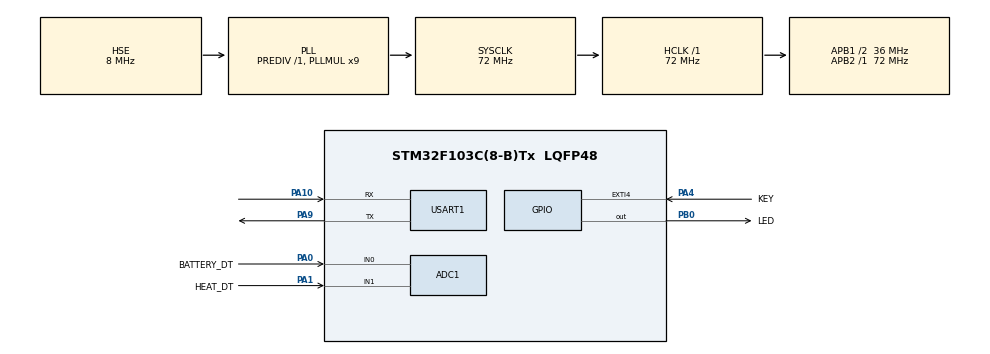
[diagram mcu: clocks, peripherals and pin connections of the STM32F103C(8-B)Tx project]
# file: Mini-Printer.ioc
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ADC1.Channel-2\#ChannelRegularConversion=ADC_CHANNEL_0
ADC1.Channel-3\#ChannelRegularConversion=ADC_CHANNEL_1
ADC1.ContinuousConvMode=ENABLE
ADC1.NbrOfConversion=2
ADC1.NbrOfConversionFlag=1
ADC1.Rank-2\#ChannelRegularConversion=1
ADC1.Rank-3\#ChannelRegularConversion=2
ADC1.SamplingTime-2\#ChannelRegularConversion=ADC_SAMPLETIME_239CYCLES_5
ADC1.SamplingTime-3\#ChannelRegularConversion=ADC_SAMPLETIME_239CYCLES_5
ADC1.master=1
Dma.ADC1.0.Direction=DMA_PERIPH_TO_MEMORY
Dma.ADC1.0.Instance=DMA1_Channel1
Dma.ADC1.0.MemDataAlignment=DMA_MDATAALIGN_WORD
Dma.ADC1.0.MemInc=DMA_MINC_ENABLE
Dma.ADC1.0.Mode=DMA_CIRCULAR
Dma.ADC1.0.PeriphDataAlignment=DMA_PDATAALIGN_WORD
Dma.ADC1.0.PeriphInc=DMA_PINC_DISABLE
Dma.ADC1.0.Priority=DMA_PRIORITY_LOW
Dma.Request0=ADC1
Mcu.Family=STM32F1
Mcu.Name=STM32F103C(8-B)Tx
Mcu.Package=LQFP48
NVIC.ADC1_2_IRQn=true\:10\:0\:true\:false\:true\:true\:true
NVIC.DMA1_Channel1_IRQn=true\:10\:0\:true\:false\:true\:false\:true
NVIC.EXTI4_IRQn=true\:4\:0\:true\:false\:true\:true\:true
NVIC.PriorityGroup=NVIC_PRIORITYGROUP_4
NVIC.TIM3_IRQn=true\:3\:0\:true\:false\:true\:true\:true
NVIC.TIM4_IRQn=true\:0\:0\:true\:false\:true\:false\:true
NVIC.TimeBase=TIM4_IRQn
NVIC.TimeBaseIP=TIM4
PA0-WKUP.GPIO_Label=BATTERY_DT
PA0-WKUP.Signal=ADCx_IN0
PA1.GPIO_Label=HEAT_DT
PA1.Signal=ADCx_IN1
PA10.Mode=Asynchronous
PA10.Signal=USART1_RX
PA13.Mode=Serial_Wire
PA13.Signal=SYS_JTMS-SWDIO
PA14.Mode=Serial_Wire
PA14.Signal=SYS_JTCK-SWCLK
PA4.GPIO_Label=KEY
PA4.GPIO_ModeDefaultEXTI=GPIO_MODE_IT_RISING_FALLING
PA4.GPIO_PuPd=GPIO_PULLUP
PA4.Signal=GPXTI4
PA9.Mode=Asynchronous
PA9.Signal=USART1_TX
PB0.GPIO_Label=LED
PB0.GPIO_PuPd=GPIO_PULLUP
PB0.PinState=GPIO_PIN_SET
PB0.Signal=GPIO_Output
PD0-OSC_IN.Mode=HSE-External-Oscillator
PD0-OSC_IN.Signal=RCC_OSC_IN
PD1-OSC_OUT.Mode=HSE-External-Oscillator
PD1-OSC_OUT.Signal=RCC_OSC_OUT
ProjectManager.HeapSize=0x200
ProjectManager.StackSize=0x400
ProjectManager.TargetToolchain=MDK-ARM V5.32
RCC.ADCPresc=RCC_ADCPCLK2_DIV6
RCC.AHBFreq_Value=72000000
RCC.APB1CLKDivider=RCC_HCLK_DIV2
RCC.APB1Freq_Value=36000000
RCC.APB1TimFreq_Value=72000000
RCC.APB2Freq_Value=72000000
RCC.APB2TimFreq_Value=72000000
RCC.HCLKFreq_Value=72000000
RCC.PLLMUL=RCC_PLL_MUL9
RCC.PLLSourceVirtual=RCC_PLLSOURCE_HSE
RCC.SYSCLKFreq_VALUE=72000000
RCC.SYSCLKSource=RCC_SYSCLKSOURCE_PLLCLK
RCC.USBFreq_Value=72000000
SH.ADCx_IN0.0=ADC1_IN0,IN0
SH.ADCx_IN1.0=ADC1_IN1,IN1
TIM3.AutoReloadPreload=TIM_AUTORELOAD_PRELOAD_ENABLE
TIM3.Period=100-1
TIM3.Prescaler=7200-1
USART1.VirtualMode=VM_ASYNC
VP_SYS_VS_tim4.Mode=TIM4
VP_TIM3_VS_ClockSourceINT.Mode=Internal
board=custom

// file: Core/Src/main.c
/* USER CODE BEGIN Header */
/**
 ******************************************************************************
 * @file           : main.c
 * @brief          : Main program body
 ******************************************************************************
 * @attention
 *
 * Copyright (c) 2025 STMicroelectronics.
 * All rights reserved.
 *
 * This software is licensed under terms that can be found in the LICENSE file
 * in the root directory of this software component.
 * If no LICENSE file comes with this software, it is provided AS-IS.
 *
 ******************************************************************************
 */
/* USER CODE END Header */
#include "main.h"
#include "adc.h"
#include "dma.h"
#include "tim.h"
#include "usart.h"
#include "gpio.h"

/* USER CODE BEGIN Includes */
#include "freertos_start.h"
#include "sys_init.h"
#include "key.h"
/* USER CODE END Includes */

/* USER CODE BEGIN PTD */

/* 按键触发的是按下中断还是抬起中断 */
extern uint8_t key_mode_flag;

/* 当前按键模式 */
extern key_type_t key_mode;

/* 从按键按下的时刻 */
int key_start = 0;

/* 定时器中断次数，中断�???�???10ms，中�???3次按键消抖，中断13次判断按键事�??? */
uint8_t count = 0;

/* USER CODE END PTD */

void SystemClock_Config(void);

int main(void)
{

  /* MCU Configuration--------------------------------------------------------*/

  /* Reset of all peripherals, Initializes the Flash interface and the Systick. */
  HAL_Init();

  /* Configure the system clock */
  SystemClock_Config();

  /* Initialize all configured peripherals */
  MX_GPIO_Init();
  MX_DMA_Init();
  MX_ADC1_Init();
  MX_TIM3_Init();
  MX_USART1_UART_Init();
  /* USER CODE BEGIN 2 */

  /* 系统初始�??? */
  sys_init();

  /* freertos 启动 */
  printf("freertos_start....\n");
  freertos_start();

  /* USER CODE END 2 */

  /* Infinite loop */
  while (1)
  {

  }
}

void SystemClock_Config(void)
{
  RCC_OscInitTypeDef RCC_OscInitStruct = {0};
  RCC_ClkInitTypeDef RCC_ClkInitStruct = {0};
  RCC_PeriphCLKInitTypeDef PeriphClkInit = {0};

  /** Initializes the RCC Oscillators according to the specified parameters
  * in the RCC_OscInitTypeDef structure.
  */
  RCC_OscInitStruct.OscillatorType = RCC_OSCILLATORTYPE_HSE;
  RCC_OscInitStruct.HSEState = RCC_HSE_ON;
  RCC_OscInitStruct.HSEPredivValue = RCC_HSE_PREDIV_DIV1;
  RCC_OscInitStruct.HSIState = RCC_HSI_ON;
  RCC_OscInitStruct.PLL.PLLState = RCC_PLL_ON;
  RCC_OscInitStruct.PLL.PLLSource = RCC_PLLSOURCE_HSE;
  RCC_OscInitStruct.PLL.PLLMUL = RCC_PLL_MUL9;
  if (HAL_RCC_OscConfig(&RCC_OscInitStruct) != HAL_OK)
  {
    Error_Handler();
  }
  /** Initializes the CPU, AHB and APB buses clocks
  */
  RCC_ClkInitStruct.ClockType = RCC_CLOCKTYPE_HCLK|RCC_CLOCKTYPE_SYSCLK
                              |RCC_CLOCKTYPE_PCLK1|RCC_CLOCKTYPE_PCLK2;
  RCC_ClkInitStruct.SYSCLKSource = RCC_SYSCLKSOURCE_PLLCLK;
  RCC_ClkInitStruct.AHBCLKDivider = RCC_SYSCLK_DIV1;
  RCC_ClkInitStruct.APB1CLKDivider = RCC_HCLK_DIV2;
  RCC_ClkInitStruct.APB2CLKDivider = RCC_HCLK_DIV1;

  if (HAL_RCC_ClockConfig(&RCC_ClkInitStruct, FLASH_LATENCY_2) != HAL_OK)
  {
    Error_Handler();
  }
  PeriphClkInit.PeriphClockSelection = RCC_PERIPHCLK_ADC;
  PeriphClkInit.AdcClockSelection = RCC_ADCPCLK2_DIV6;
  if (HAL_RCCEx_PeriphCLKConfig(&PeriphClkInit) != HAL_OK)
  {
    Error_Handler();
  }
}

void HAL_TIM_PeriodElapsedCallback(TIM_HandleTypeDef *htim)
{
  if (htim->Instance == TIM4) {
    HAL_IncTick();
  }
  /* USER CODE BEGIN Callback 1 */

  // 如果是定时器3中断
  if (htim == &htim3)
  {
    printf("count = %d\n", count);
    // 如果count = 3，且中断类型与第�?次中断类型一�?
    if ((count == 3 && HAL_GPIO_ReadPin(KEY_GPIO_Port, KEY_Pin) == GPIO_PIN_RESET && key_mode_flag == 0) || (count == 3 && HAL_GPIO_ReadPin(KEY_GPIO_Port, KEY_Pin) == GPIO_PIN_SET && key_mode_flag == 1))
    {
      // 确认按键�?/释放，开始进行计�?
      key_start = HAL_GetTick();
    }

    // 如果 3 < count，且中断类型为松�?
    else if (count > 3 && HAL_GPIO_ReadPin(KEY_GPIO_Port, KEY_Pin) == GPIO_PIN_SET)
    {
      // 松开时间
      int key_end = HAL_GetTick();

      printf("TIM3-INTERRUPT  --> key_end - key_start = %d\r\n", key_end - key_start);
      // 如果松开时刻 - 按下时刻 > key_short_mode_time，判定为长按释放
      if (key_end - key_start > key_short_mode_time)
      {
        key_mode = KEY_MODE_LONG_RELEASE;
      }
      // 如果松开时刻 - 按下时刻 <= key_short_mode_time，判定为短按事件
      else
      {
        key_mode = KEY_MODE_SHORT;
      }

      // 松手之后，关闭定时器3
      HAL_TIM_Base_Stop_IT(&htim3);
      count = 0;
    }
    // count每增�?1次约12ms，如果count增加�? 250/12 = 21次，判定为长按事件，此时还未松开
    else if (count >= 21)
    {
      key_mode = KEY_MODE_LONG;
    }

    // count++
    count++;
  }

  /* USER CODE END Callback 1 */
}

void Error_Handler(void)
{
  __disable_irq();
  while (1)
  {
  }
}
